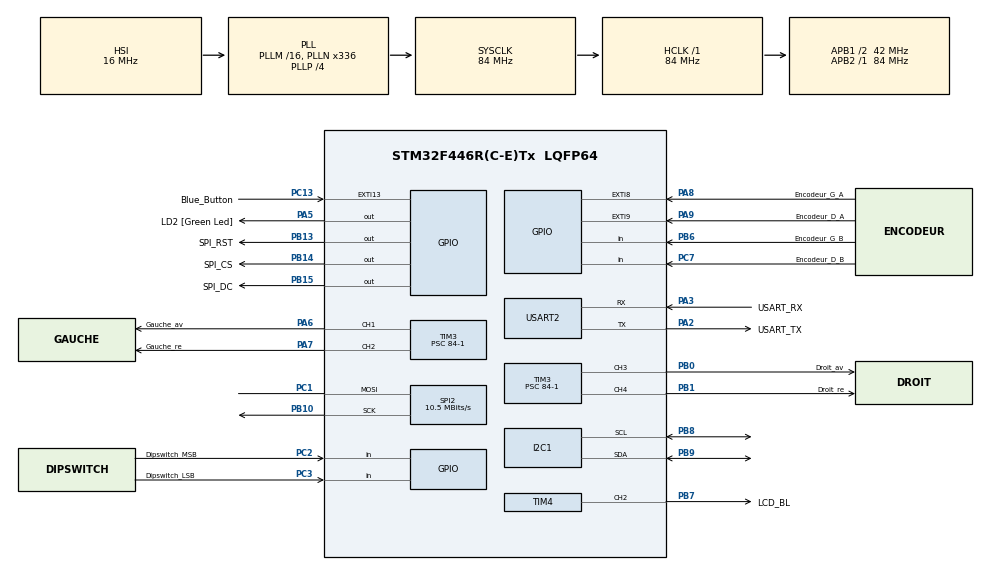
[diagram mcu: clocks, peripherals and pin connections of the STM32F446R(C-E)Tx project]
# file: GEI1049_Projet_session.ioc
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Mcu.Family=STM32F4
Mcu.Name=STM32F446R(C-E)Tx
Mcu.Package=LQFP64
NVIC.EXTI15_10_IRQn=true\:0\:0\:false\:false\:true\:true\:true\:true
NVIC.EXTI9_5_IRQn=true\:0\:0\:false\:false\:true\:true\:true\:true
NVIC.PriorityGroup=NVIC_PRIORITYGROUP_0
NVIC.TIM1_UP_TIM10_IRQn=true\:0\:0\:false\:false\:true\:true\:true\:true
NVIC.TIM6_DAC_IRQn=true\:0\:0\:false\:false\:true\:true\:true\:true
NVIC.TIM7_IRQn=true\:0\:0\:false\:false\:true\:true\:true\:true
PA13.GPIO_Label=TMS
PA13.Mode=Serial_Wire
PA13.Signal=SYS_JTMS-SWDIO
PA14.GPIO_Label=TCK
PA14.Mode=Serial_Wire
PA14.Signal=SYS_JTCK-SWCLK
PA2.GPIO_Label=USART_TX
PA2.Mode=Asynchronous
PA2.Signal=USART2_TX
PA3.GPIO_Label=USART_RX
PA3.Mode=Asynchronous
PA3.Signal=USART2_RX
PA5.GPIO_Label=LD2 [Green Led]
PA5.Signal=GPIO_Output
PA6.GPIO_Label=Gauche_av
PA6.Signal=S_TIM3_CH1
PA7.GPIO_Label=Gauche_re
PA7.Signal=S_TIM3_CH2
PA8.GPIO_Label=Encodeur_G_A
PA8.GPIO_PuPd=GPIO_PULLDOWN
PA8.Signal=GPXTI8
PA9.GPIO_Label=Encodeur_D_A
PA9.GPIO_PuPd=GPIO_PULLDOWN
PA9.Signal=GPXTI9
PB0.GPIO_Label=Droit_av
PB0.Signal=S_TIM3_CH3
PB1.GPIO_Label=Droit_re
PB1.Signal=S_TIM3_CH4
PB10.Mode=Simplex_Bidirectional_Master
PB10.Signal=SPI2_SCK
PB13.GPIO_Label=SPI_RST
PB13.Signal=GPIO_Output
PB14.GPIO_Label=SPI_CS
PB14.Signal=GPIO_Output
PB15.GPIO_Label=SPI_DC
PB15.Signal=GPIO_Output
PB3.GPIO_Label=SWO
PB3.Signal=SYS_JTDO-SWO
PB6.GPIO_Label=Encodeur_G_B
PB6.Signal=GPIO_Input
PB7.GPIO_Label=LCD_BL
PB7.Signal=S_TIM4_CH2
PB8.Mode=I2C
PB8.Signal=I2C1_SCL
PB9.Mode=I2C
PB9.Signal=I2C1_SDA
PC1.Mode=Simplex_Bidirectional_Master
PC1.Signal=SPI2_MOSI
PC13.GPIO_Label=Blue_Button
PC13.GPIO_ModeDefaultEXTI=GPIO_MODE_IT_RISING
PC13.Signal=GPXTI13
PC14-OSC32_IN.Mode=LSE-External-Oscillator
PC14-OSC32_IN.Signal=RCC_OSC32_IN
PC15-OSC32_OUT.Mode=LSE-External-Oscillator
PC15-OSC32_OUT.Signal=RCC_OSC32_OUT
PC2.GPIO_Label=Dipswitch_MSB
PC2.GPIO_PuPd=GPIO_PULLDOWN
PC2.Signal=GPIO_Input
PC3.GPIO_Label=Dipswitch_LSB
PC3.GPIO_PuPd=GPIO_PULLDOWN
PC3.Signal=GPIO_Input
PC7.GPIO_Label=Encodeur_D_B
PC7.GPIO_PuPd=GPIO_NOPULL
PC7.Signal=GPIO_Input
PH0-OSC_IN.Mode=HSE-External-Oscillator
PH0-OSC_IN.Signal=RCC_OSC_IN
PH1-OSC_OUT.Mode=HSE-External-Oscillator
PH1-OSC_OUT.Signal=RCC_OSC_OUT
ProjectManager.HeapSize=0x200
ProjectManager.StackSize=0x400
ProjectManager.TargetToolchain=STM32CubeIDE
RCC.48MHZClocksFreq_Value=84000000
RCC.AHBFreq_Value=84000000
RCC.APB1CLKDivider=RCC_HCLK_DIV2
RCC.APB1Freq_Value=42000000
RCC.APB1TimFreq_Value=84000000
RCC.APB2Freq_Value=84000000
RCC.APB2TimFreq_Value=84000000
RCC.CortexFreq_Value=84000000
RCC.FLatency-AdvancedSettings=FLASH_LATENCY_2
RCC.HCLKFreq_Value=84000000
RCC.HSE_VALUE=8000000
RCC.HSI_VALUE=16000000
RCC.PLLN=336
RCC.PLLP=RCC_PLLP_DIV4
RCC.RCC_RTC_Clock_SourceVirtual=RCC_RTCCLKSOURCE_LSE
RCC.RCC_RTC_Clock_Source_FROM_HSE=RCC_RTCCLKSOURCE_HSE_DIV8
RCC.SYSCLKFreq_VALUE=84000000
RCC.SYSCLKSource=RCC_SYSCLKSOURCE_PLLCLK
RCC.USBFreq_Value=168000000
RCC.VCOOutputFreq_Value=336000000
RTC.AsynchPrediv=128-1
RTC.Date=4
RTC.Hours=17
RTC.Month=RTC_MONTH_DECEMBER
RTC.SynchPrediv=256-1
RTC.WeekDay=RTC_WEEKDAY_WEDNESDAY
RTC.Year=24
SH.S_TIM3_CH1.0=TIM3_CH1,PWM Generation1 CH1
SH.S_TIM3_CH2.0=TIM3_CH2,PWM Generation2 CH2
SH.S_TIM3_CH3.0=TIM3_CH3,PWM Generation3 CH3
SH.S_TIM3_CH4.0=TIM3_CH4,PWM Generation4 CH4
SH.S_TIM4_CH2.0=TIM4_CH2,PWM Generation2 CH2
SPI2.BaudRatePrescaler=SPI_BAUDRATEPRESCALER_4
SPI2.CalculateBaudRate=10.5 MBits/s
SPI2.Direction=SPI_DIRECTION_1LINE
SPI2.Mode=SPI_MODE_MASTER
SPI2.VirtualType=VM_MASTER
TIM10.Period=2000-1
TIM10.Prescaler=42000-1
TIM3.Channel-PWM\ Generation1\ CH1=TIM_CHANNEL_1
TIM3.Channel-PWM\ Generation2\ CH2=TIM_CHANNEL_2
TIM3.Channel-PWM\ Generation3\ CH3=TIM_CHANNEL_3
TIM3.Channel-PWM\ Generation4\ CH4=TIM_CHANNEL_4
TIM3.Period=500-1
TIM3.Prescaler=84-1
TIM4.Channel-PWM\ Generation2\ CH2=TIM_CHANNEL_2
TIM4.Period=1000-1
TIM4.Prescaler=300-1
TIM6.Period=200-1
TIM6.Prescaler=42000-1
TIM6.TIM_MasterOutputTrigger=TIM_TRGO_UPDATE
TIM7.AutoReloadPreload=TIM_AUTORELOAD_PRELOAD_DISABLE
TIM7.Period=9
TIM7.Prescaler=83
TIM7.TIM_MasterOutputTrigger=TIM_TRGO_RESET
USART2.VirtualMode=VM_ASYNC
VP_RTC_VS_RTC_Activate.Mode=RTC_Enabled
VP_RTC_VS_RTC_Calendar.Mode=RTC_Calendar
VP_TIM10_VS_ClockSourceINT.Mode=Enable_Timer
VP_TIM3_VS_ClockSourceINT.Mode=Internal
VP_TIM4_VS_ClockSourceINT.Mode=Internal
VP_TIM6_VS_ClockSourceINT.Mode=Enable_Timer
VP_TIM7_VS_ClockSourceINT.Mode=Enable_Timer
board=NUCLEO-F446RE

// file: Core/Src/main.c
/* USER CODE BEGIN Header */
/**
  ******************************************************************************
  * @file           : main.c
  * @brief          : Main program body
  ******************************************************************************
  * @attention
  *
  * Copyright (c) 2024 STMicroelectronics.
  * All rights reserved.
  *
  * This software is licensed under terms that can be found in the LICENSE file
  * in the root directory of this software component.
  * If no LICENSE file comes with this software, it is provided AS-IS.
  *
  ******************************************************************************
  */
/* USER CODE END Header */
#include "main.h"
#include "i2c.h"
#include "rtc.h"
#include "spi.h"
#include "tim.h"
#include "usart.h"
#include "gpio.h"

/* USER CODE BEGIN Includes */
#include "vitesse_affichage.h"
#include "image.h"
#include "LCD_Test.h"
#include "LCD_2inch.h"
#include "DEV_Config.h"
#include <stdint.h>
#include <stdio.h>
#include <string.h>
#include <math.h>
/* USER CODE END Includes */

/* USER CODE BEGIN PD */
#define PULSE_PAR_TOUR 74
#define CIRCONFERENCE 157 // en mm
/* USER CODE END PD */

/* USER CODE BEGIN PV */
volatile uint16_t arrTimerVitesse = 199, nbPulseD = 0, nbPulseG = 0;
uint16_t moyNbPulseG = 0, moyNbPulseD = 0;
volatile uint16_t vitesseD = 0, vitesseG = 0; //en mm par seconde
uint8_t LCD_Init_OK = 0, delais_LCD = 0;
int encod_D = 0, encod_G = 0;

int timeRefresh = 0;
int vitesseRefresh = 0;

//GPIO_PinState Encod_B_D;
//GPIO_PinState Encod_B_G;

int directionD = 0;
int directionG = 0;

/* USER CODE END PV */

void SystemClock_Config(void);

int main(void)
{

  /* MCU Configuration--------------------------------------------------------*/

  /* Reset of all peripherals, Initializes the Flash interface and the Systick. */
  HAL_Init();

  /* USER CODE BEGIN Init */

  Initialisation_manette();

  /* USER CODE END Init */

  /* Configure the system clock */
  SystemClock_Config();

  /* Initialize all configured peripherals */
  MX_GPIO_Init();
  MX_USART2_UART_Init();
  MX_TIM6_Init();
  MX_TIM3_Init();
  MX_TIM7_Init();
  MX_I2C1_Init();
  MX_SPI2_Init();
  MX_TIM4_Init();
  MX_RTC_Init();
  MX_TIM10_Init();
  /* USER CODE BEGIN 2 */
  HAL_TIM_Base_Start_IT(&htim6);
  HAL_TIM_Base_Start_IT(&htim10);

  if (HAL_TIM_PWM_Start(&htim3, TIM_CHANNEL_1) != HAL_OK)
  {
      Error_Handler();
  }

  if (HAL_TIM_PWM_Start(&htim3, TIM_CHANNEL_2) != HAL_OK)
  {
      Error_Handler();
  }

  if (HAL_TIM_PWM_Start(&htim3, TIM_CHANNEL_3) != HAL_OK)
  {
      Error_Handler();
  }

  if (HAL_TIM_PWM_Start(&htim3, TIM_CHANNEL_4) != HAL_OK)
  {
      Error_Handler();
  }
  arrTimerVitesse = __HAL_TIM_GET_AUTORELOAD(&htim6);
  curr_mode = MANUAL_MODE;
  curr_step = 1;
  if(DEBUG_MODE) {
	  CLOCKWISE_FACTOR = STARTING_VALUE;
	  COUNTER_CLW_FACTOR = STARTING_VALUE;
	  RATIO = STARTING_VALUE;
  } else {
	  RATIO = 0.61;
	  CLOCKWISE_FACTOR = 56.75;
	  COUNTER_CLW_FACTOR = 0;
  }
  LCD_Init(&LCD_Init_OK);

  /* USER CODE END 2 */

  /* Infinite loop */
  while (1)
  {

    /* USER CODE BEGIN 3 */
	if(timeRefresh && (curr_mode == MANUAL_MODE || pause)){
	refresh_RTC_Time();
	timeRefresh = 0;
	}

	if(DEBUG_MODE)							// Find constant values
		  Constant_Tuning_Mode();
	else if(curr_mode != MANUAL_MODE) { 	// Toggle auto mode
		switch(curr_mode) {
			case CIRCLE_MODE:
				Auto_Circle();
				break;
			case BACK_FORTH_MODE:
				Auto_Back_Forth();
				break;
			case SQUARE_MODE:
				Auto_Square();
				break;
		}
	}
	else { 	// Manual mode
		Controller();
	}
	if(vitesseRefresh >= 3 && curr_mode == MANUAL_MODE){
		LCD_Vitesse(directionD, directionG);
		vitesseRefresh = 0;
	}
  }
}

  /* USER CODE END 3 */

void SystemClock_Config(void)
{
  RCC_OscInitTypeDef RCC_OscInitStruct = {0};
  RCC_ClkInitTypeDef RCC_ClkInitStruct = {0};

  /** Configure the main internal regulator output voltage
  */
  __HAL_RCC_PWR_CLK_ENABLE();
  __HAL_PWR_VOLTAGESCALING_CONFIG(PWR_REGULATOR_VOLTAGE_SCALE3);

  /** Initializes the RCC Oscillators according to the specified parameters
  * in the RCC_OscInitTypeDef structure.
  */
  RCC_OscInitStruct.OscillatorType = RCC_OSCILLATORTYPE_HSI|RCC_OSCILLATORTYPE_LSE;
  RCC_OscInitStruct.LSEState = RCC_LSE_ON;
  RCC_OscInitStruct.HSIState = RCC_HSI_ON;
  RCC_OscInitStruct.HSICalibrationValue = RCC_HSICALIBRATION_DEFAULT;
  RCC_OscInitStruct.PLL.PLLState = RCC_PLL_ON;
  RCC_OscInitStruct.PLL.PLLSource = RCC_PLLSOURCE_HSI;
  RCC_OscInitStruct.PLL.PLLM = 16;
  RCC_OscInitStruct.PLL.PLLN = 336;
  RCC_OscInitStruct.PLL.PLLP = RCC_PLLP_DIV4;
  RCC_OscInitStruct.PLL.PLLQ = 2;
  RCC_OscInitStruct.PLL.PLLR = 2;
  if (HAL_RCC_OscConfig(&RCC_OscInitStruct) != HAL_OK)
  {
    Error_Handler();
  }

  /** Initializes the CPU, AHB and APB buses clocks
  */
  RCC_ClkInitStruct.ClockType = RCC_CLOCKTYPE_HCLK|RCC_CLOCKTYPE_SYSCLK
                              |RCC_CLOCKTYPE_PCLK1|RCC_CLOCKTYPE_PCLK2;
  RCC_ClkInitStruct.SYSCLKSource = RCC_SYSCLKSOURCE_PLLCLK;
  RCC_ClkInitStruct.AHBCLKDivider = RCC_SYSCLK_DIV1;
  RCC_ClkInitStruct.APB1CLKDivider = RCC_HCLK_DIV2;
  RCC_ClkInitStruct.APB2CLKDivider = RCC_HCLK_DIV1;

  if (HAL_RCC_ClockConfig(&RCC_ClkInitStruct, FLASH_LATENCY_2) != HAL_OK)
  {
    Error_Handler();
  }
}

/* USER CODE BEGIN 4 */
void HAL_GPIO_EXTI_Callback(uint16_t GPIO_Pin){

	if(GPIO_Pin == GPIO_PIN_9)
	{
		nbPulseD++ ; // compte les pulses de lencodeur droit
    	//Encod_B_D = HAL_GPIO_ReadPin(GPIOC, GPIO_PIN_7);
	}

	if(GPIO_Pin == GPIO_PIN_8)
	{
		nbPulseG++ ; // compte les pulses de lencodeur droit
    	//Encod_B_G = HAL_GPIO_ReadPin(GPIOB, GPIO_PIN_6);
	}

	if(GPIO_Pin == Blue_Button_Pin) {
		if(DEBUG_MODE && curr_mode == MANUAL_MODE) {
			CLOCKWISE_FACTOR += STEP_VALUE;
			COUNTER_CLW_FACTOR += STEP_VALUE;
			RATIO += STEP_VALUE;
			curr_mode = DEBUG_MODE;
			char buffer[8];
			sprintf(buffer, "%.4f", CLOCKWISE_FACTOR);
			Paint_DrawString_EN (120, 150, buffer, &Font16, MAGENTA, WHITE);
			return;
		}

		// Resume if auto mode paused
		if(pause)
			Resume();

		// Pause auto mode if button pressed while auto mode on
		else if(curr_mode != MANUAL_MODE)
			Pause();

		// Change current mode only on manual mode
		if(curr_mode == MANUAL_MODE) {
			dip_state = Get_Mode(HAL_GPIO_ReadPin(Dipswitch_MSB_GPIO_Port, Dipswitch_MSB_Pin), HAL_GPIO_ReadPin(Dipswitch_LSB_GPIO_Port, Dipswitch_LSB_Pin));
			curr_mode = dip_state;
		}
	}
}

void HAL_TIM_PeriodElapsedCallback(TIM_HandleTypeDef *htim)
{
    if(htim->Instance == TIM6)
    {

    	moyPulse(nbPulseD, nbPulseG, &moyNbPulseD, &moyNbPulseG);

    	vitesseD = CIRCONFERENCE * moyNbPulseD / PULSE_PAR_TOUR * 2000 / (arrTimerVitesse + 1) ; // calcule la vitesse de la chenille droite en m/s
    	vitesseG = CIRCONFERENCE * moyNbPulseG / PULSE_PAR_TOUR * 2000 / (arrTimerVitesse + 1) ;
    	nbPulseD = 0;
    	nbPulseG = 0;
    	vitesseRefresh++;

    	   /* if (Encod_B_D == GPIO_PIN_SET)
    	    {
    	        directionD = 1;
    	    }
    	    else
    	    {
    	    	directionD = 0;
    	    }

    	    if (Encod_B_G == GPIO_PIN_SET)
    	    {
    	        directionG = 1;
    	    }
    	    else
    	    {
    	    	directionG = 0;
    	    }*/
    	}

    if(htim->Instance == TIM7) {	// Triggered every 10 µs
    	timer_count += 10;
    }
    if(htim->Instance == TIM10){
    	timeRefresh = 1;
    }
}
/* USER CODE END 4 */

void Error_Handler(void)
{
  __disable_irq();
  while (1)
  {
  }
}
